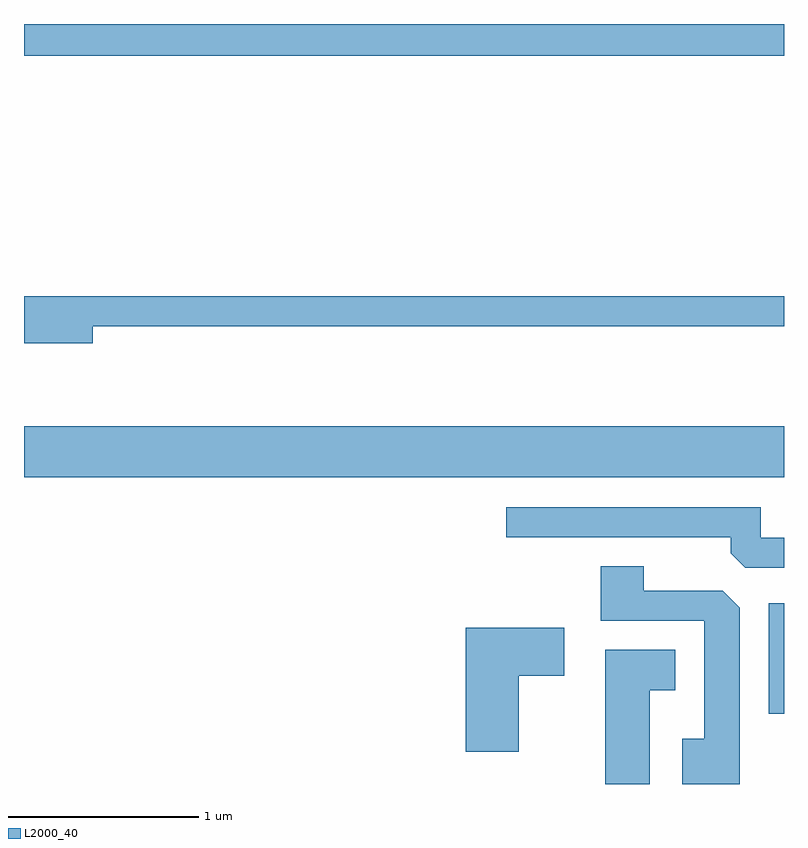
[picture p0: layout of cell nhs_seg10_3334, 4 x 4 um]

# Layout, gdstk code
import gdstk
lib = gdstk.Library(unit=1e-6, precision=1e-09)
def R(c, l, rs):  # rectangles x0, y0, x1, y1
    for r in rs: c.add(gdstk.rectangle(r[:2], r[2:], *l))
def P(c, l, *ps):  # polygons
    for p in ps: c.add(gdstk.Polygon(p, *l))
L2000_40 = (2000, 40)

nhs_seg10_3334 = lib.new_cell('nhs_seg10_3334')
R(nhs_seg10_3334, L2000_40, [(287.531,2114.891,287.611,2115.474), (283.611,2116.136,287.611,2116.404), (283.611,2118.356,287.611,2118.522)])
P(nhs_seg10_3334, L2000_40, [(283.974,2116.931),(287.611,2116.931),(287.611,2117.089),(283.611,2117.089),(283.611,2116.841),(283.974,2116.841)],
  [(287.611,2115.819),(287.489,2115.819),(287.489,2115.979),(286.148,2115.979),(286.148,2115.821),(287.331,2115.821),(287.331,2115.737),(287.407,2115.661),(287.611,2115.661)],
  [(287.379,2115.449),(287.289,2115.539),(286.874,2115.539),(286.874,2115.669),(286.646,2115.669),(286.646,2115.381),(287.191,2115.381),(287.191,2114.759),(287.076,2114.759),(287.076,2114.522),(287.379,2114.522)],
  [(286.214,2115.091),(286.454,2115.091),(286.454,2115.344),(285.936,2115.344),(285.936,2114.691),(286.214,2114.691)],
  [(286.904,2115.016),(287.039,2115.016),(287.039,2115.229),(286.671,2115.229),(286.671,2114.522),(286.904,2114.522)])

lib.write_gds('nhs_seg10_3334.gds')
